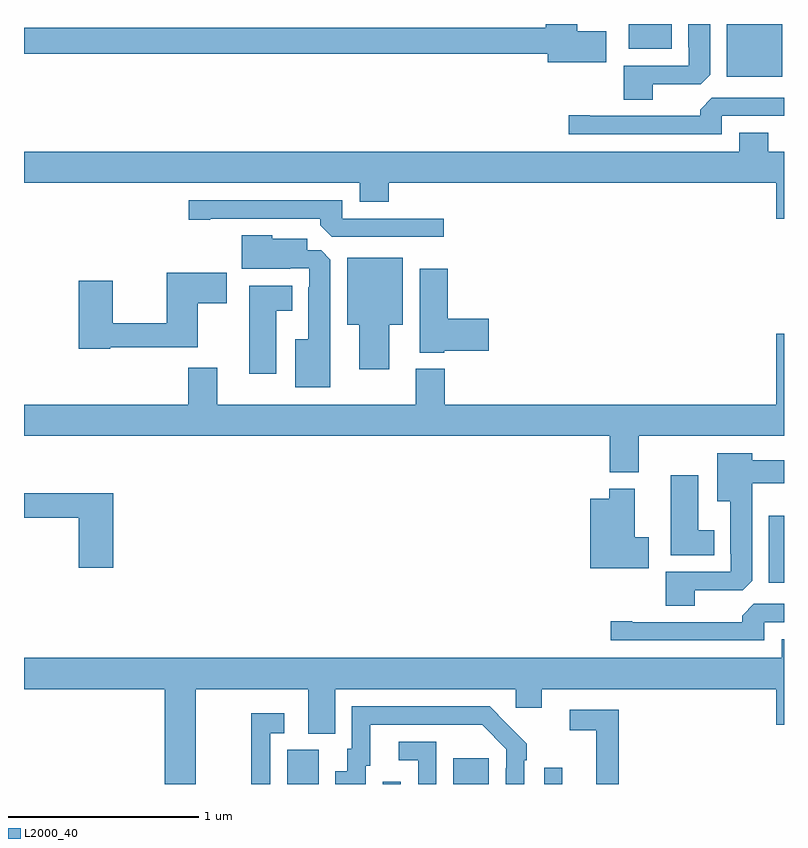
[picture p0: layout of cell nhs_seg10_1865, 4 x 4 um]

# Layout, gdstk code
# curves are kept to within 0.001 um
import gdstk
lib = gdstk.Library(unit=1e-6, precision=1e-09)
def R(c, l, rs):  # rectangles x0, y0, x1, y1
    for r in rs: c.add(gdstk.rectangle(r[:2], r[2:], *l))
def P(c, l, *ps):  # polygons
    for p in ps: c.add(gdstk.Polygon(p, *l))
L2000_40 = (2000, 40)

nhs_seg10_1865 = lib.new_cell('nhs_seg10_1865')
R(nhs_seg10_1865, L2000_40, [(210.386,1282.5,210.55,1282.68), (210.888,1282.5,210.984,1282.513), (211.259,1282.5,211.447,1282.636), (211.737,1282.5,211.833,1282.585), (212.921,1283.558,213,1283.911), (212.699,1286.222,212.992,1286.5), (212.183,1286.369,212.41,1286.5)])
P(nhs_seg10_1865, L2000_40, [(212.308,1286.184),(212.562,1286.184),(212.611,1286.233),(212.611,1286.5),(212.495,1286.5),(212.495,1286.377),(212.499,1286.377),(212.499,1286.28),(212.156,1286.28),(212.156,1286.101),(212.308,1286.101)],
  [(212.065,1286.463),(211.912,1286.463),(211.912,1286.5),(211.745,1286.5),(211.745,1286.48),(209,1286.48),(209,1286.344),(211.757,1286.344),(211.757,1286.3),(212.065,1286.3)],
  [(212.673,1286.016),(213,1286.016),(213,1286.112),(212.619,1286.112),(212.558,1286.05),(212.558,1286.016),(211.978,1286.016),(211.978,1286.021),(211.866,1286.021),(211.866,1285.92),(212.673,1285.92)],
  [(213,1285.828),(212.918,1285.828),(212.918,1285.927),(212.765,1285.927),(212.765,1285.828),(209,1285.828),(209,1285.664),(210.767,1285.664),(210.767,1285.565),(210.92,1285.565),(210.92,1285.664),(212.96,1285.664),(212.96,1285.476),(213,1285.476)],
  [(211.21,1285.476),(210.675,1285.476),(210.675,1285.572),(209.868,1285.572),(209.868,1285.471),(209.98,1285.471),(209.98,1285.476),(210.56,1285.476),(210.56,1285.442),(210.621,1285.38),(211.21,1285.38)],
  [(210.613,1285.259),(210.564,1285.308),(210.49,1285.308),(210.49,1285.369),(210.306,1285.369),(210.306,1285.387),(210.146,1285.387),(210.146,1285.211),(210.401,1285.211),(210.401,1285.215),(210.501,1285.215),(210.501,1285.115),(210.497,1285.115),(210.497,1284.841),(210.428,1284.841),(210.428,1284.587),(210.613,1284.587)],
  [(210.922,1284.917),(210.994,1284.917),(210.994,1285.27),(210.701,1285.27),(210.701,1284.917),(210.764,1284.917),(210.764,1284.684),(210.922,1284.684)],
  [(211.212,1284.779),(211.447,1284.779),(211.447,1284.95),(211.229,1284.95),(211.229,1285.213),(211.082,1285.213),(211.082,1284.77),(211.212,1284.77)],
  [(209.454,1284.798),(209.914,1284.798),(209.914,1285.03),(210.067,1285.03),(210.067,1285.192),(209.752,1285.192),(209.752,1284.926),(209.466,1284.926),(209.466,1285.15),(209.288,1285.15),(209.288,1284.79),(209.454,1284.79)],
  [(210.328,1284.992),(210.412,1284.992),(210.412,1285.123),(210.185,1285.123),(210.185,1284.66),(210.328,1284.66)],
  [(212.236,1284.332),(213,1284.332),(213,1284.871),(212.96,1284.871),(212.96,1284.496),(211.214,1284.496),(211.214,1284.685),(211.061,1284.685),(211.061,1284.496),(210.016,1284.496),(210.016,1284.691),(209.864,1284.691),(209.864,1284.496),(209,1284.496),(209,1284.332),(212.084,1284.332),(212.084,1284.14),(212.236,1284.14)],
  [(212.53,1283.52),(212.784,1283.52),(212.833,1283.569),(212.833,1284.083),(213,1284.083),(213,1284.205),(212.833,1284.205),(212.833,1284.241),(212.648,1284.241),(212.648,1283.987),(212.717,1283.987),(212.717,1283.713),(212.721,1283.713),(212.721,1283.616),(212.378,1283.616),(212.378,1283.437),(212.53,1283.437)],
  [(212.632,1283.836),(212.548,1283.836),(212.548,1284.124),(212.405,1284.124),(212.405,1283.705),(212.632,1283.705)],
  [(212.287,1283.799),(212.215,1283.799),(212.215,1284.055),(212.081,1284.055),(212.081,1284.001),(211.979,1284.001),(211.979,1283.636),(212.287,1283.636)],
  [(209.471,1284.031),(209,1284.031),(209,1283.902),(209.288,1283.902),(209.288,1283.637),(209.471,1283.637)],
  [(212.895,1283.352),(213,1283.352),(213,1283.448),(212.841,1283.448),(212.78,1283.386),(212.78,1283.352),(212.2,1283.352),(212.2,1283.357),(212.088,1283.357),(212.088,1283.256),(212.895,1283.256)],
  [(209.905,1283),(210.497,1283),(210.497,1282.765),(210.637,1282.765),(210.637,1283),(211.587,1283),(211.587,1282.902),(211.726,1282.902),(211.726,1283),(212.96,1283),(212.96,1282.812),(213,1282.812),(213,1283.263),(212.987,1283.263),(212.987,1283.164),(209,1283.164),(209,1283),(209.741,1283),(209.741,1282.5),(209.905,1282.5)],
  [(210.799,1282.596),(210.823,1282.596),(210.823,1282.812),(211.411,1282.812),(211.539,1282.683),(211.539,1282.583),(211.536,1282.583),(211.536,1282.5),(211.632,1282.5),(211.632,1282.625),(211.647,1282.625),(211.647,1282.713),(211.45,1282.908),(210.726,1282.908),(210.726,1282.686),(210.701,1282.686),(210.701,1282.567),(210.638,1282.567),(210.638,1282.5),(210.799,1282.5)],
  [(212.129,1282.89),(211.872,1282.89),(211.872,1282.782),(212.012,1282.782),(212.012,1282.5),(212.129,1282.5)],
  [(210.297,1282.767),(210.37,1282.767),(210.37,1282.873),(210.196,1282.873),(210.196,1282.5),(210.297,1282.5)],
  [(211.17,1282.722),(210.972,1282.722),(210.972,1282.626),(211.074,1282.626),(211.074,1282.5),(211.17,1282.5)])

lib.write_gds('nhs_seg10_1865.gds')
